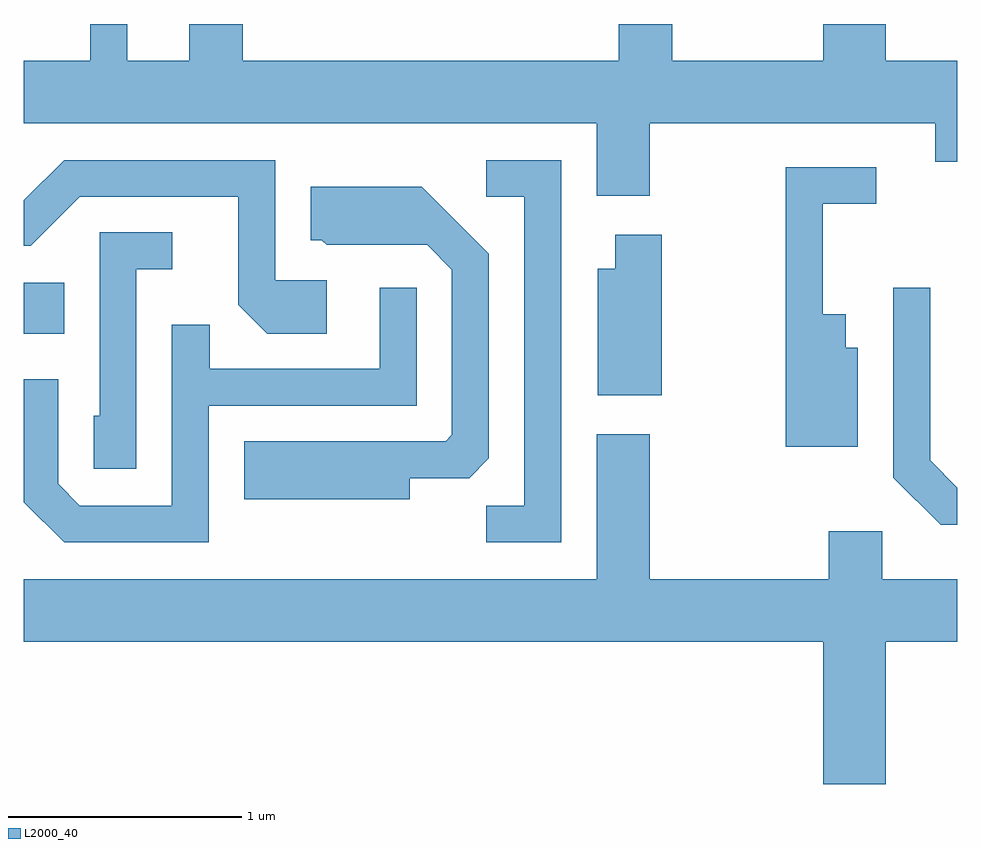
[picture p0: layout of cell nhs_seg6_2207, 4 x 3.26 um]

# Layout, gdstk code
import gdstk
lib = gdstk.Library(unit=1e-6, precision=1e-09)
def R(c, l, rs):  # rectangles x0, y0, x1, y1
    for r in rs: c.add(gdstk.rectangle(r[:2], r[2:], *l))
def P(c, l, *ps):  # polygons
    for p in ps: c.add(gdstk.Polygon(p, *l))
L2000_40 = (2000, 40)

nhs_seg6_2207 = lib.new_cell('nhs_seg6_2207')
R(nhs_seg6_2207, L2000_40, [(251.611,1626.836,251.784,1627.054)])
P(nhs_seg6_2207, L2000_40, [(254.294,1627.736),(255.516,1627.736),(255.516,1627.571),(255.611,1627.571),(255.611,1628.004),(255.304,1628.004),(255.304,1628.162),(255.036,1628.162),(255.036,1628.004),(254.389,1628.004),(254.389,1628.162),(254.161,1628.162),(254.161,1628.004),(252.549,1628.004),(252.549,1628.162),(252.321,1628.162),(252.321,1628.004),(252.054,1628.004),(252.054,1628.162),(251.896,1628.162),(251.896,1628.004),(251.611,1628.004),(251.611,1627.736),(254.066,1627.736),(254.066,1627.426),(254.294,1627.426)],
  [(253.914,1627.579),(253.593,1627.579),(253.593,1627.421),(253.756,1627.421),(253.756,1626.099),(253.593,1626.099),(253.593,1625.941),(253.914,1625.941)],
  [(252.909,1627.064),(252.689,1627.064),(252.689,1627.579),(251.784,1627.579),(251.611,1627.406),(251.611,1627.211),(251.642,1627.211),(251.852,1627.421),(252.531,1627.421),(252.531,1626.959),(252.654,1626.836),(252.909,1626.836)],
  [(255.184,1626.774),(255.134,1626.774),(255.134,1626.919),(255.034,1626.919),(255.034,1627.391),(255.263,1627.391),(255.263,1627.549),(254.876,1627.549),(254.876,1626.351),(255.184,1626.351)],
  [(253.264,1626.216),(253.519,1626.216),(253.604,1626.302),(253.604,1627.177),(253.317,1627.464),(252.841,1627.464),(252.841,1627.236),(252.889,1627.236),(252.909,1627.216),(253.339,1627.216),(253.446,1627.109),(253.446,1626.402),(253.419,1626.374),(252.556,1626.374),(252.556,1626.126),(253.264,1626.126)],
  [(252.094,1627.111),(252.248,1627.111),(252.248,1627.269),(251.936,1627.269),(251.936,1626.484),(251.911,1626.484),(251.911,1626.256),(252.094,1626.256)],
  [(254.344,1627.259),(254.146,1627.259),(254.146,1627.114),(254.071,1627.114),(254.071,1626.571),(254.344,1626.571)],
  [(255.611,1626.175),(255.494,1626.292),(255.494,1627.033),(255.336,1627.033),(255.336,1626.219),(255.539,1626.016),(255.611,1626.016)],
  [(252.404,1626.526),(253.294,1626.526),(253.294,1627.033),(253.136,1627.033),(253.136,1626.684),(252.409,1626.684),(252.409,1626.873),(252.246,1626.873),(252.246,1626.099),(251.852,1626.099),(251.759,1626.192),(251.759,1626.639),(251.611,1626.639),(251.611,1626.114),(251.784,1625.941),(252.404,1625.941)],
  [(255.289,1625.989),(255.061,1625.989),(255.061,1625.784),(254.294,1625.784),(254.294,1626.404),(254.066,1626.404),(254.066,1625.784),(251.611,1625.784),(251.611,1625.516),(255.036,1625.516),(255.036,1624.906),(255.304,1624.906),(255.304,1625.516),(255.611,1625.516),(255.611,1625.784),(255.289,1625.784)])

lib.write_gds('nhs_seg6_2207.gds')
